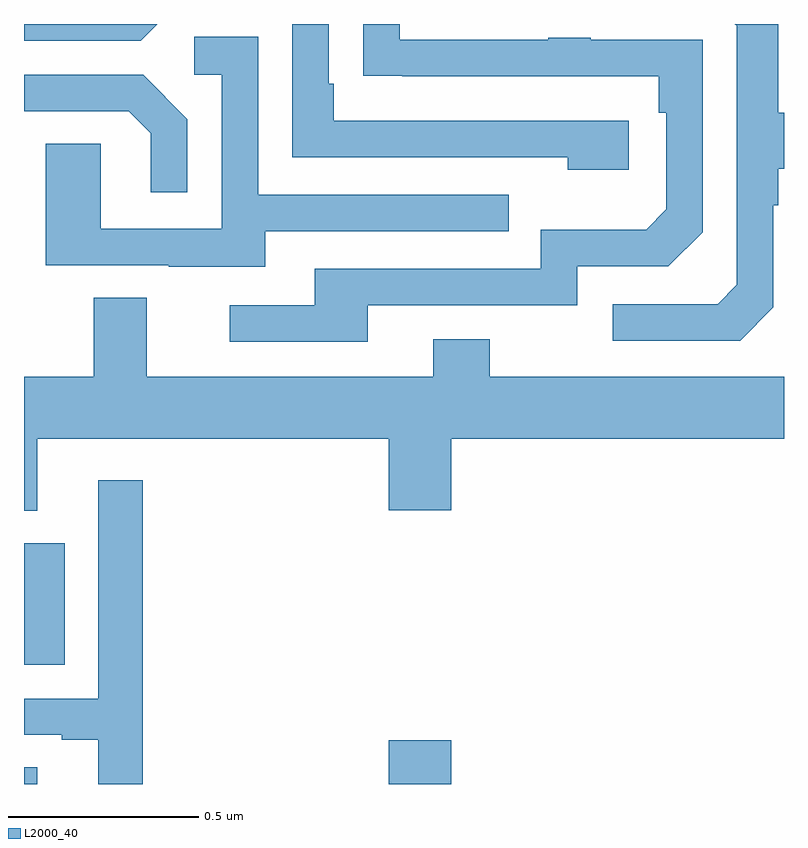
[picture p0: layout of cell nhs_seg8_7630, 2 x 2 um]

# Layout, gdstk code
import gdstk
lib = gdstk.Library(unit=1e-6, precision=1e-09)
def R(c, l, rs):  # rectangles x0, y0, x1, y1
    for r in rs: c.add(gdstk.rectangle(r[:2], r[2:], *l))
def P(c, l, *ps):  # polygons
    for p in ps: c.add(gdstk.Polygon(p, *l))
L2000_40 = (2000, 40)

nhs_seg8_7630 = lib.new_cell('nhs_seg8_7630')
R(nhs_seg8_7630, L2000_40, [(212,1140.9,212.035,1140.944), (212.96,1140.9,213.124,1141.015), (212,1141.214,212.107,1141.534)])
P(nhs_seg8_7630, L2000_40, [(212.351,1142.9),(212,1142.9),(212,1142.856),(212.307,1142.856)],
  [(213.592,1142.646),(212.815,1142.646),(212.815,1142.743),(212.802,1142.743),(212.802,1142.9),(212.706,1142.9),(212.706,1142.55),(213.431,1142.55),(213.431,1142.516),(213.592,1142.516)],
  [(212.905,1142.16),(213.456,1142.16),(213.456,1142.262),(213.696,1142.262),(213.786,1142.352),(213.786,1142.859),(213.491,1142.859),(213.491,1142.864),(213.379,1142.864),(213.379,1142.859),(212.989,1142.859),(212.989,1142.9),(212.893,1142.9),(212.893,1142.764),(212.995,1142.764),(212.995,1142.763),(213.67,1142.763),(213.67,1142.666),(213.69,1142.666),(213.69,1142.412),(213.637,1142.359),(213.36,1142.359),(213.36,1142.256),(212.765,1142.256),(212.765,1142.16),(212.541,1142.16),(212.541,1142.064),(212.905,1142.064)],
  [(213.972,1142.154),(213.972,1142.423),(213.985,1142.423),(213.985,1142.519),(214,1142.519),(214,1142.667),(213.985,1142.667),(213.985,1142.9),(213.871,1142.9),(213.876,1142.895),(213.876,1142.214),(213.825,1142.163),(213.549,1142.163),(213.549,1142.067),(213.885,1142.067)],
  [(212.635,1142.355),(213.275,1142.355),(213.275,1142.451),(212.616,1142.451),(212.616,1142.867),(212.448,1142.867),(212.448,1142.766),(212.52,1142.766),(212.52,1142.361),(212.202,1142.361),(212.202,1142.585),(212.057,1142.585),(212.057,1142.265),(212.381,1142.265),(212.381,1142.261),(212.635,1142.261)],
  [(212.43,1142.65),(212.314,1142.766),(212,1142.766),(212,1142.67),(212.276,1142.67),(212.333,1142.613),(212.333,1142.457),(212.43,1142.457)],
  [(212.035,1141.808),(212.96,1141.808),(212.96,1141.62),(213.124,1141.62),(213.124,1141.808),(214,1141.808),(214,1141.972),(213.225,1141.972),(213.225,1142.071),(213.077,1142.071),(213.077,1141.972),(212.323,1141.972),(212.323,1142.18),(212.183,1142.18),(212.183,1141.972),(212,1141.972),(212,1141.619),(212.035,1141.619)],
  [(212.312,1141.699),(212.196,1141.699),(212.196,1141.125),(212,1141.125),(212,1141.029),(212.099,1141.029),(212.099,1141.017),(212.195,1141.017),(212.195,1140.9),(212.312,1140.9)])

lib.write_gds('nhs_seg8_7630.gds')
